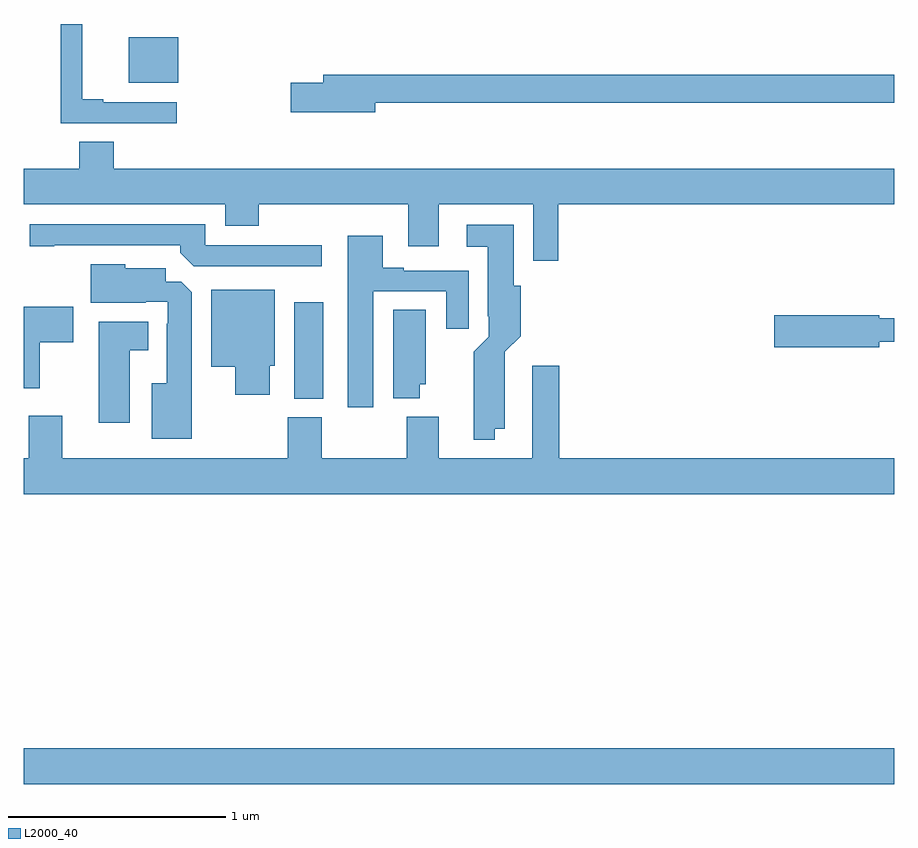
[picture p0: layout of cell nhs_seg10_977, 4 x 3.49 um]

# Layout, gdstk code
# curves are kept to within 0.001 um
import gdstk
lib = gdstk.Library(unit=1e-6, precision=1e-09)
def R(c, l, rs):  # rectangles x0, y0, x1, y1
    for r in rs: c.add(gdstk.rectangle(r[:2], r[2:], *l))
def P(c, l, *ps):  # polygons
    for p in ps: c.add(gdstk.Polygon(p, *l))
L2000_40 = (2000, 40)

nhs_seg10_977 = lib.new_cell('nhs_seg10_977')
R(nhs_seg10_977, L2000_40, [(161,1275.008,165,1275.172), (162.242,1276.777,162.376,1277.221), (161.483,1278.23,161.71,1278.439)])
P(nhs_seg10_977, L2000_40, [(161.704,1278.141),(161.365,1278.141),(161.365,1278.154),(161.27,1278.154),(161.27,1278.5),(161.17,1278.5),(161.17,1278.045),(161.704,1278.045)],
  [(162.616,1278.138),(165,1278.138),(165,1278.266),(162.377,1278.266),(162.377,1278.23),(162.228,1278.23),(162.228,1278.095),(162.616,1278.095)],
  [(163.457,1277.672),(165,1277.672),(165,1277.836),(161.414,1277.836),(161.414,1277.96),(161.254,1277.96),(161.254,1277.836),(161,1277.836),(161,1277.672),(161.927,1277.672),(161.927,1277.573),(162.08,1277.573),(162.08,1277.672),(162.767,1277.672),(162.767,1277.478),(162.907,1277.478),(162.907,1277.672),(163.341,1277.672),(163.341,1277.412),(163.457,1277.412)],
  [(162.37,1277.484),(161.835,1277.484),(161.835,1277.58),(161.028,1277.58),(161.028,1277.479),(161.14,1277.479),(161.14,1277.484),(161.72,1277.484),(161.72,1277.45),(161.781,1277.388),(162.37,1277.388)],
  [(163.165,1276.64),(163.21,1276.64),(163.211,1276.994),(163.283,1277.066),(163.283,1277.298),(163.252,1277.298),(163.252,1277.578),(163.035,1277.578),(163.035,1277.477),(163.133,1277.477),(163.133,1277.158),(163.137,1277.158),(163.137,1277.064),(163.067,1276.994),(163.068,1276.589),(163.165,1276.589)],
  [(162.607,1277.271),(162.941,1277.271),(162.941,1277.1),(163.045,1277.1),(163.045,1277.367),(162.745,1277.367),(162.745,1277.38),(162.649,1277.38),(162.649,1277.527),(162.488,1277.527),(162.488,1276.74),(162.607,1276.74)],
  [(161.773,1277.267),(161.724,1277.316),(161.653,1277.316),(161.653,1277.377),(161.466,1277.377),(161.466,1277.395),(161.309,1277.395),(161.309,1277.219),(161.561,1277.219),(161.561,1277.223),(161.661,1277.223),(161.661,1277.123),(161.657,1277.123),(161.657,1276.849),(161.588,1276.849),(161.588,1276.595),(161.773,1276.595)],
  [(162.13,1276.929),(162.154,1276.929),(162.154,1277.278),(161.861,1277.278),(161.861,1276.925),(161.972,1276.925),(161.972,1276.797),(162.13,1276.797)],
  [(161.074,1277.038),(161.227,1277.038),(161.227,1277.2),(161,1277.2),(161,1276.827),(161.074,1276.827)],
  [(162.82,1276.845),(162.847,1276.845),(162.847,1277.186),(162.698,1277.186),(162.698,1276.781),(162.82,1276.781)],
  [(164.932,1277.039),(165,1277.039),(165,1277.149),(164.932,1277.149),(164.932,1277.162),(164.448,1277.162),(164.448,1277.015),(164.932,1277.015)],
  [(161.488,1277),(161.572,1277),(161.572,1277.131),(161.345,1277.131),(161.345,1276.668),(161.488,1276.668)],
  [(165,1276.504),(163.46,1276.504),(163.46,1276.93),(163.337,1276.93),(163.337,1276.504),(162.907,1276.504),(162.907,1276.696),(162.76,1276.696),(162.76,1276.504),(162.369,1276.504),(162.369,1276.692),(162.214,1276.692),(162.214,1276.504),(161.176,1276.504),(161.176,1276.699),(161.024,1276.699),(161.024,1276.504),(161,1276.504),(161,1276.34),(165,1276.34)])

lib.write_gds('nhs_seg10_977.gds')
